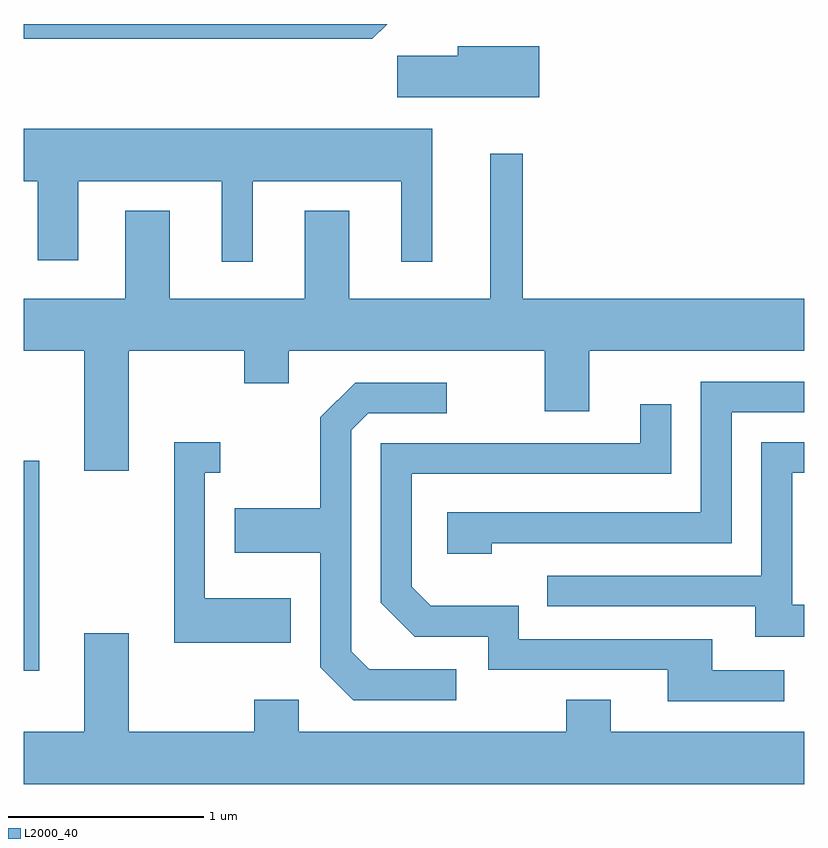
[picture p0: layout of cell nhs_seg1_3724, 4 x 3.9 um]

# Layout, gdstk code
import gdstk
lib = gdstk.Library(unit=1e-6, precision=1e-09)
def R(c, l, rs):  # rectangles x0, y0, x1, y1
    for r in rs: c.add(gdstk.rectangle(r[:2], r[2:], *l))
def P(c, l, *ps):  # polygons
    for p in ps: c.add(gdstk.Polygon(p, *l))
L2000_40 = (2000, 40)

nhs_seg1_3724 = lib.new_cell('nhs_seg1_3724')
R(nhs_seg1_3724, L2000_40, [(297.611,882.396,297.689,883.474)])
P(nhs_seg1_3724, L2000_40, [(299.473,885.712),(297.611,885.712),(297.611,885.636),(299.397,885.636)],
  [(300.254,885.599),(299.836,885.599),(299.836,885.549),(299.526,885.549),(299.526,885.336),(300.254,885.336)],
  [(298.784,884.906),(299.546,884.906),(299.546,884.493),(299.704,884.493),(299.704,885.174),(297.611,885.174),(297.611,884.906),(297.681,884.906),(297.681,884.501),(297.889,884.501),(297.889,884.906),(298.626,884.906),(298.626,884.493),(298.784,884.493)],
  [(298.149,884.036),(298.741,884.036),(298.741,883.871),(298.969,883.871),(298.969,884.036),(300.281,884.036),(300.281,883.726),(300.509,883.726),(300.509,884.036),(301.611,884.036),(301.611,884.304),(300.169,884.304),(300.169,885.048),(300.001,885.048),(300.001,884.304),(299.279,884.304),(299.279,884.754),(299.051,884.754),(299.051,884.304),(298.359,884.304),(298.359,884.754),(298.131,884.754),(298.131,884.304),(297.611,884.304),(297.611,884.036),(297.921,884.036),(297.921,883.421),(298.149,883.421)],
  [(300.009,883.051),(301.239,883.051),(301.239,883.721),(301.611,883.721),(301.611,883.879),(301.081,883.879),(301.081,883.209),(299.781,883.209),(299.781,882.996),(300.009,882.996)],
  [(299.828,882.404),(299.382,882.404),(299.289,882.497),(299.289,883.629),(299.377,883.716),(299.778,883.716),(299.778,883.874),(299.309,883.874),(299.131,883.697),(299.131,883.229),(298.691,883.229),(298.691,883.001),(299.131,883.001),(299.131,882.414),(299.299,882.246),(299.828,882.246)],
  [(301.508,882.399),(301.139,882.399),(301.139,882.559),(300.149,882.559),(300.149,882.729),(299.697,882.729),(299.599,882.827),(299.599,883.406),(300.929,883.406),(300.929,883.763),(300.771,883.763),(300.771,883.564),(299.441,883.564),(299.441,882.744),(299.614,882.571),(299.991,882.571),(299.991,882.401),(300.911,882.401),(300.911,882.241),(301.508,882.241)],
  [(301.611,882.734),(301.549,882.734),(301.549,883.411),(301.611,883.411),(301.611,883.569),(301.391,883.569),(301.391,882.884),(300.293,882.884),(300.293,882.726),(301.361,882.726),(301.361,882.571),(301.611,882.571)],
  [(298.979,882.769),(298.539,882.769),(298.539,883.411),(298.618,883.411),(298.618,883.569),(298.381,883.569),(298.381,882.541),(298.979,882.541)],
  [(301.611,882.084),(300.619,882.084),(300.619,882.249),(300.391,882.249),(300.391,882.084),(299.019,882.084),(299.019,882.249),(298.791,882.249),(298.791,882.084),(298.149,882.084),(298.149,882.589),(297.921,882.589),(297.921,882.084),(297.611,882.084),(297.611,881.816),(301.611,881.816)])

lib.write_gds('nhs_seg1_3724.gds')
